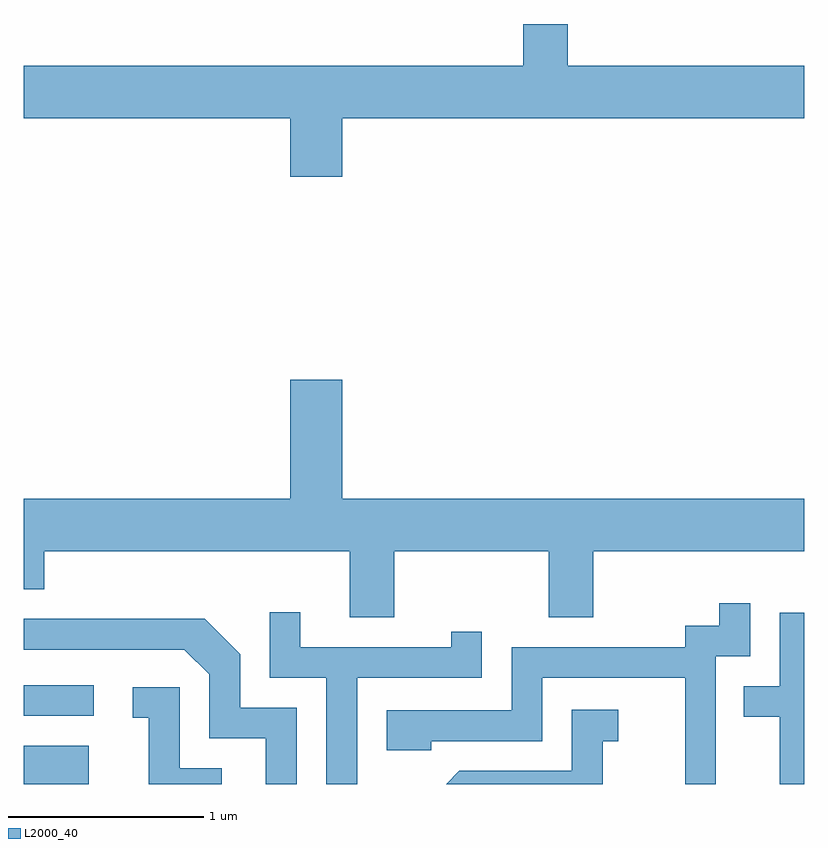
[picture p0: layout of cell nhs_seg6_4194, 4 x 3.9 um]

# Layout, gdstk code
import gdstk
lib = gdstk.Library(unit=1e-6, precision=1e-09)
def R(c, l, rs):  # rectangles x0, y0, x1, y1
    for r in rs: c.add(gdstk.rectangle(r[:2], r[2:], *l))
def P(c, l, *ps):  # polygons
    for p in ps: c.add(gdstk.Polygon(p, *l))
L2000_40 = (2000, 40)

nhs_seg6_4194 = lib.new_cell('nhs_seg6_4194')
R(nhs_seg6_4194, L2000_40, [(313.611,1562.162,313.944,1562.359), (313.611,1562.511,313.968,1562.669)])
P(nhs_seg6_4194, L2000_40, [(315.244,1565.576),(317.611,1565.576),(317.611,1565.844),(316.399,1565.844),(316.399,1566.059),(316.171,1566.059),(316.171,1565.844),(313.611,1565.844),(313.611,1565.576),(314.976,1565.576),(314.976,1565.276),(315.244,1565.276)],
  [(315.509,1563.356),(316.301,1563.356),(316.301,1563.016),(316.529,1563.016),(316.529,1563.356),(317.611,1563.356),(317.611,1563.624),(315.244,1563.624),(315.244,1564.234),(314.976,1564.234),(314.976,1563.624),(313.611,1563.624),(313.611,1563.161),(313.714,1563.161),(313.714,1563.356),(315.281,1563.356),(315.281,1563.016),(315.509,1563.016)],
  [(317.159,1562.816),(317.334,1562.816),(317.334,1563.088),(317.176,1563.088),(317.176,1562.974),(317.001,1562.974),(317.001,1562.864),(316.111,1562.864),(316.111,1562.539),(315.471,1562.539),(315.471,1562.336),(315.699,1562.336),(315.699,1562.381),(316.269,1562.381),(316.269,1562.706),(317.001,1562.706),(317.001,1562.162),(317.159,1562.162)],
  [(315.319,1562.706),(315.959,1562.706),(315.959,1562.943),(315.801,1562.943),(315.801,1562.864),(315.029,1562.864),(315.029,1563.043),(314.871,1563.043),(314.871,1562.706),(315.161,1562.706),(315.161,1562.162),(315.319,1562.162)],
  [(317.611,1563.039),(317.486,1563.039),(317.486,1562.664),(317.303,1562.664),(317.303,1562.506),(317.486,1562.506),(317.486,1562.162),(317.611,1562.162)],
  [(315.009,1562.554),(314.719,1562.554),(314.719,1562.827),(314.537,1563.009),(313.611,1563.009),(313.611,1562.851),(314.434,1562.851),(314.561,1562.724),(314.561,1562.396),(314.851,1562.396),(314.851,1562.162),(315.009,1562.162)],
  [(314.624,1562.244),(314.409,1562.244),(314.409,1562.659),(314.168,1562.659),(314.168,1562.501),(314.251,1562.501),(314.251,1562.162),(314.624,1562.162)],
  [(316.579,1562.381),(316.658,1562.381),(316.658,1562.544),(316.421,1562.544),(316.421,1562.229),(315.844,1562.229),(315.777,1562.162),(316.579,1562.162)])

lib.write_gds('nhs_seg6_4194.gds')
